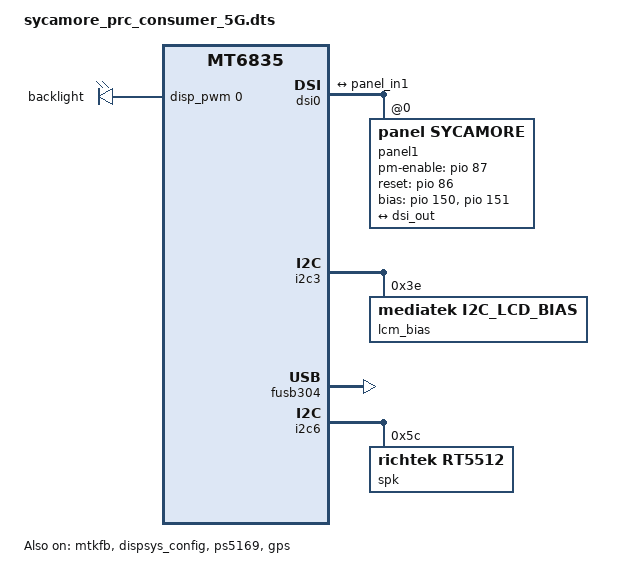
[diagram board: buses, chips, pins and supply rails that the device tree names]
// SPDX-License-Identifier: (GPL-2.0 OR MIT)
/*
 * Copyright (C) 2022 MediaTek Inc.
 */
/dts-v1/;
/plugin/;
#include <dt-bindings/interrupt-controller/arm-gic.h>
#include <dt-bindings/interrupt-controller/irq.h>
#include <dt-bindings/phy/phy.h>
#include <dt-bindings/pinctrl/mt6835-pinfunc.h>
#include "mediatek/mt6835_6377.dtsi"
#include "mediatek/cust_mt6835_camera.dtsi"
#include "mediatek/sycamore_keyboard.dtsi"

&android {
	hardware = "mt8755";
};

&mtk_leds {
	compatible = "mediatek,pwm-leds";

	backlight {
		led_mode = <5>;
                /*sycamore code for sycamore-4386 by liyc40 at  2024.11.26 start*/
		pwms = <&disp_pwm 0 31505>;
		pwm_config = <2 0 0 0 0>;
                max-hw-brightness=<4095>;
                min-hw-brightness=<0>;
                /*sycamore code for sycamore-4784 by liyc40 at  2025.1.7 start*/
                max-brightness=<255>;
                /*sycamore code for sycamore-4784 by liyc40 at  2025.1.7 end*/
                min-brightness=<0>;
                /*sycamore code for sycamore-4386 by liyc40 at  2024.11.26 end*/
	};
};
/* Sycamore code for SYCAMORE-510 by liaodc3 at 2025/01/23 start */
&product_region {
        country = "PRC";
        province = "PRC";
        city = "PRC";
};
/* Sycamore code for SYCAMORE-510 by liaodc3 at 2025/01/23 end */
&pio {
	mtkfb_pins_lcm_rst_out1_gpio: lcm_rst_out1_gpio {
		pins_cmd_dat {
			pinmux = <PINMUX_GPIO86__FUNC_GPIO86>;
			slew-rate = <1>;
			output-high;
		};
	};

	mtkfb_pins_lcm_rst_out0_gpio: lcm_rst_out0_gpio {
		pins_cmd_dat {
			pinmux = <PINMUX_GPIO86__FUNC_GPIO86>;
			slew-rate = <1>;
			output-low;
		};
	};

	mtkfb_pins_lcm_dsi_te: lcm_dsi_te {
		pins_cmd_dat {
			pinmux = <PINMUX_GPIO85__FUNC_DSI_TE>;
		};
	};

};

&mtkfb {
	pinctrl-names = "lcm_rst_out1_gpio", "lcm_rst_out0_gpio",
		"mode_te_te";
	pinctrl-0 = <&mtkfb_pins_lcm_rst_out1_gpio>;
	pinctrl-1 = <&mtkfb_pins_lcm_rst_out0_gpio>;
	pinctrl-2 = <&mtkfb_pins_lcm_dsi_te>;
	status = "okay";
};

&dispsys_config {
	pinctrl-names =
		"lcm_rst_out1_gpio", "lcm_rst_out0_gpio",
		"mode_te_te";
	pinctrl-0 = <&mtkfb_pins_lcm_rst_out1_gpio>;
	pinctrl-1 = <&mtkfb_pins_lcm_rst_out0_gpio>;
	pinctrl-2 = <&mtkfb_pins_lcm_dsi_te>;
	status = "okay";
};

&dsi0 {
	status = "okay";
	#address-cells = <1>;
	#size-cells = <0>;
	switch-fps = <0>;
	switch-mode = "vfp";
	panel1@0 {
		/* sycamore code for sycamore-4725 by chenzm13 at  2024.12.13 start */
		compatible = "panel,sycamore";
		/* sycamore code for sycamore-4725 by chenzm13 at  2024.12.13 end */
		reg = <0>;
		pm-enable-gpios = <&pio 87 0>;
		reset-gpios = <&pio 86 0>;
		bias-gpios = <&pio 150 0>,
			<&pio 151 0>;
		pinctrl-names = "default";
		port {
			panel_in1: endpoint {
				remote-endpoint = <&dsi_out>;
			};
		};
	};
	ports {
		port {
			dsi_out: endpoint {
				remote-endpoint = <&panel_in1>;
			};
		};
	};
};

&i2c3 {
	lcm_bias: lcm_bias@3e {
		compatible = "mediatek,I2C_LCD_BIAS";
		reg = <0x3e>;
		status = "okay";
	};
};

/* usb typec mux start */
&pio {
	sel_up: sel_high {
		pins_cmd_dat {
			pinmux = <PINMUX_GPIO54__FUNC_GPIO54>;
			output-high;
		};
	};

	sel_down: sel_low  {
		pins_cmd_dat {
			pinmux = <PINMUX_GPIO54__FUNC_GPIO54>;
			output-low;
		};
	};

	sw_enable: sw_enable {
		pins_cmd_dat {
			pinmux = <PINMUX_GPIO30__FUNC_GPIO30>;
			output-high;
		};
	};

	sw_disable: sw_disable {
		pins_cmd_dat {
			pinmux = <PINMUX_GPIO30__FUNC_GPIO30>;
			output-high;
		};
	};

	ps_enable: ps_enable {
		pins_cmd_dat {
		};
	};

	ps_disable: ps_disable {
		pins_cmd_dat {
		};
	};
};

&ps5169 {
	pinctrl-names = "enable", "disable";
	pinctrl-0 = <&ps_enable>;
	pinctrl-1 = <&ps_disable>;
	status = "okay";
};

&fusb304 {
	pinctrl-names = "sel_up", "sel_down",
		"enable", "disable";
	pinctrl-0 = <&sel_up>;
	pinctrl-1 = <&sel_down>;
	pinctrl-2 = <&sw_enable>;
	pinctrl-3 = <&sw_disable>;
	status = "okay";
};

&mt6375_typec {
	port {
		tcpc_typec_usb: endpoint@0 {
			remote-endpoint = <&ssusb_mux>;
		};
	};
};

&typec_mux_switch {
	orientation-switch;
	mode-switch;
	accessory;
	port {
		ssusb_mux: endpoint@0 {
			remote-endpoint = <&tcpc_typec_usb>;
		};
	};
};
/* usb typec mux end*/

/* GPS GPIO standardization start */
&pio {
	gps_pins_default: gps_default {
	};
	gps_l1_lna_pins_ol: gps_l1_lna@0 {
		pins_cmd_dat {
			pinmux = <PINMUX_GPIO123__FUNC_GPIO123>;
			output-low;
		};
	};
	gps_l1_lna_pins_dsp_ctrl: gps_l1_lna@1 {
		pins_cmd_dat {
			pinmux = <PINMUX_GPIO123__FUNC_GPS_L1_ELNA_EN>;
		};
	};
	gps_l1_lna_pins_oh: gps_l1_lna@2 {
		pins_cmd_dat {
			pinmux = <PINMUX_GPIO123__FUNC_GPIO123>;
			output-high;
		};
	};
	gps_l5_lna_pins_ol: gps_l5_lna@0 {
		pins_cmd_dat {
			pinmux = <PINMUX_GPIO124__FUNC_GPIO124>;
			output-low;
		};
	};
	gps_l5_lna_pins_dsp_ctrl: gps_l5_lna@1 {
		pins_cmd_dat {
			pinmux = <PINMUX_GPIO124__FUNC_GPS_L5_ELNA_EN>;
		};
	};
	gps_l5_lna_pins_oh: gps_l5_lna@2 {
		pins_cmd_dat {
			pinmux = <PINMUX_GPIO124__FUNC_GPIO124>;
			output-high;
		};
	};
};

&gps {
	pinctrl-names = "default",
		"gps_l1_lna_disable",
		"gps_l1_lna_dsp_ctrl",
		"gps_l1_lna_enable",
		"gps_l5_lna_disable",
		"gps_l5_lna_dsp_ctrl",
		"gps_l5_lna_enable";
	pinctrl-0 = <&gps_pins_default>;
	pinctrl-1 = <&gps_l1_lna_pins_ol>;
	pinctrl-2 = <&gps_l1_lna_pins_dsp_ctrl>;
	pinctrl-3 = <&gps_l1_lna_pins_oh>;
	pinctrl-4 = <&gps_l5_lna_pins_ol>;
	pinctrl-5 = <&gps_l5_lna_pins_dsp_ctrl>;
	pinctrl-6 = <&gps_l5_lna_pins_oh>;
	status = "okay";
};
/* GPS GPIO standardization end */

#include "mediatek/cust_mt6835_camera_6377_v4l2.dtsi"
#include "mediatek/cust_mt6835_touch_1600x2560.dtsi"

&pdc {
	pd_vbus_upper_bound = <12000000>;
};

/* Sycamore code for SYCAMORE-283 by lixd36 at 2024/11/22 start */
/* Microtrust(TEEI) utos real driver */
&utos {
	microtrust,real-drv = <1>;
};
/* Sycamore code for SYCAMORE-283 by lixd36 at 2024/11/22 end */

&i2c6 {
	spk: speaker_amp@5c {
		compatible = "richtek,rt5512";
		#sound-dai-cells = <0>;
		reg = <0x5c>;
		status = "okay";
		sound-name-prefix = "Left";
	};
};

&sound {
	mediatek,spk-i2s = <3 0>;
	mediatek,speaker-codec {
		sound-dai = <&spk>;
	};
};

&scp {
	reg =	<0 0x1c400000 0 0x100000>, /* tcm */
			<0 0x1c724000 0 0x1000>, /* cfg */
			<0 0x1c721000 0 0x1000>, /* clk*/
			<0 0x1c730000 0 0x1000>, /* cfg core0 */
			<0 0x1c740000 0 0x1000>, /* cfg core1 */
			<0 0x1c752000 0 0x1000>, /* bus tracker */
			<0 0x1c760000 0 0x40000>, /* llc */
			<0 0x1c7a5000 0 0x4>, /* cfg_sec */
			<0 0x1c7fb000 0 0x100>, /* mbox0 base */
			<0 0x1c7fb100 0 0x4>, /* mbox0 set */
			<0 0x1c7fb10c 0 0x4>, /* mbox0 clr */
			<0 0x1c7a5020 0 0x4>, /* mbox0 init */
			<0 0x1c7fc000 0 0x100>, /* mbox1 base */
			<0 0x1c7fc100 0 0x4>, /* mbox1 set */
			<0 0x1c7fc10c 0 0x4>, /* mbox1 clr */
			<0 0x1c7a5024 0 0x4>, /* mbox1 init */
			<0 0x1c7fd000 0 0x100>, /* mbox2 base */
			<0 0x1c7fd100 0 0x4>, /* mbox2 set */
			<0 0x1c7fd10c 0 0x4>, /* mbox2 clr */
			<0 0x1c7a5028 0 0x4>, /* mbox2 init */
			<0 0x1c7fe000 0 0x100>, /* mbox3 base */
			<0 0x1c7fe100 0 0x4>, /* mbox3 set */
			<0 0x1c7fe10c 0 0x4>, /* mbox3 clr */
			<0 0x1c7a502c 0 0x4>, /* mbox3 init */
			<0 0x1c7ff000 0 0x100>, /* mbox4 base */
			<0 0x1c7ff100 0 0x4>, /* mbox4 set */
			<0 0x1c7ff10c 0 0x4>, /* mbox4 clr */
			<0 0x1c7a5030 0 0x4>; /* mbox4 init */
	scp-sramsize = <0x100000>;
	secure-dump-size = <0x500000>;
	memorydump = <0x100000>, /* l2tcm */
				     <0x03c000>, /* l1c */
				     <0x003c00>, /* regdump */
				     <0x000400>, /* trace buffer */
				     <0x300000>; /* dram */
};

/* Sycamore code for SYCAMORE-283 by lixd36 at 2024/11/22 start */
&mtee_svp {
	mtee:MTEE {
		compatible = "mediatek,mtk_svp_on_mtee_support";
	};

	svp:SecureVideoPath {
		compatible = "mediatek,mtk_sec_video_path_support";
	};
};
/* Sycamore code for SYCAMORE-283 by lixd36 at 2024/11/22 end */


#include <sycamore_prc_consumer_5G/cust.dtsi>
#include "mediatek/battery_charger.dtsi"
#include "mediatek/aw87xxx.dtsi"
#include "mediatek/fs1589.dtsi"
/*End of this file, DO NOT ADD ANYTHING HERE*/
